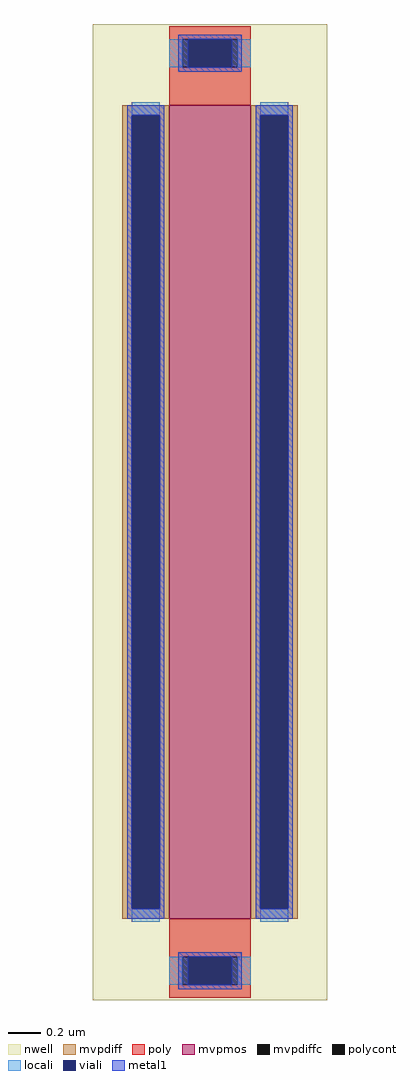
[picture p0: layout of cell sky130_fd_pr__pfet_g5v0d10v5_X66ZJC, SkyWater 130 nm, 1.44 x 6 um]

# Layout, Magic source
magic
tech sky130A
magscale 1 2
<< nwell >>
rect -144 -600 144 600
<< mvpmos >>
rect -50 -500 50 500
<< mvpdiff >>
rect -108 488 -50 500
rect -108 -488 -96 488
rect -62 -488 -50 488
rect -108 -500 -50 -488
rect 50 488 108 500
rect 50 -488 62 488
rect 96 -488 108 488
rect 50 -500 108 -488
<< mvpdiffc >>
rect -96 -488 -62 488
rect 62 -488 96 488
<< poly >>
rect -50 581 50 597
rect -50 547 -34 581
rect 34 547 50 581
rect -50 500 50 547
rect -50 -547 50 -500
rect -50 -581 -34 -547
rect 34 -581 50 -547
rect -50 -597 50 -581
<< polycont >>
rect -34 547 34 581
rect -34 -581 34 -547
<< locali >>
rect -50 547 -34 581
rect 34 547 50 581
rect -96 488 -62 504
rect -96 -504 -62 -488
rect 62 488 96 504
rect 62 -504 96 -488
rect -50 -581 -34 -547
rect 34 -581 50 -547
<< viali >>
rect -27 547 27 581
rect -96 -488 -62 488
rect 62 -488 96 488
rect -27 -581 27 -547
<< metal1 >>
rect -39 581 39 587
rect -39 547 -27 581
rect 27 547 39 581
rect -39 541 39 547
rect -102 488 -56 500
rect -102 -488 -96 488
rect -62 -488 -56 488
rect -102 -500 -56 -488
rect 56 488 102 500
rect 56 -488 62 488
rect 96 -488 102 488
rect 56 -500 102 -488
rect -39 -547 39 -541
rect -39 -581 -27 -547
rect 27 -581 39 -547
rect -39 -587 39 -581
<< properties >>
string gencell sky130_fd_pr__pfet_g5v0d10v5
string parameters w 5 l 0.5 m 1 nf 1 diffcov 100 polycov 100 guard 0 glc 1 grc 1 gtc 1 gbc 1 tbcov 100 rlcov 100 topc 1 botc 1 poverlap 0 doverlap 1 lmin 0.50 wmin 0.42 compatible {sky130_fd_pr__pfet_01v8  sky130_fd_pr__pfet_01v8_lvt sky130_fd_pr__pfet_01v8_hvt  sky130_fd_pr__pfet_g5v0d10v5} full_metal 1 viasrc 100 viadrn 100 viagate 80 viagb 0 viagr 0 viagl 0 viagt 0
string library sky130
<< end >>
